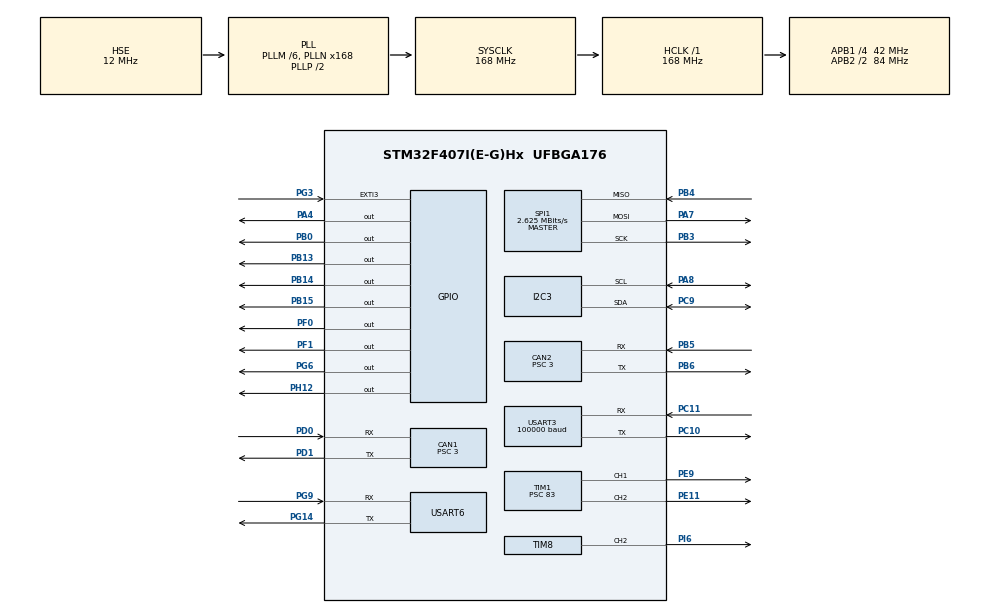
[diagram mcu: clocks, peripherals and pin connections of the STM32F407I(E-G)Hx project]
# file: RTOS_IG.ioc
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CAN1.ABOM=ENABLE
CAN1.BS1=CAN_BS1_10TQ
CAN1.BS2=CAN_BS2_3TQ
CAN1.CalculateBaudRate=1000000
CAN1.CalculateTimeBit=1000
CAN1.CalculateTimeQuantum=71.42857142857143
CAN1.NART=ENABLE
CAN1.Prescaler=3
CAN2.ABOM=ENABLE
CAN2.BS1=CAN_BS1_10TQ
CAN2.BS2=CAN_BS2_3TQ
CAN2.CalculateBaudRate=1000000
CAN2.CalculateTimeBit=1000
CAN2.CalculateTimeQuantum=71.42857142857143
CAN2.NART=ENABLE
CAN2.Prescaler=3
Dma.Request0=USART3_RX
Dma.USART3_RX.0.Direction=DMA_PERIPH_TO_MEMORY
Dma.USART3_RX.0.FIFOMode=DMA_FIFOMODE_DISABLE
Dma.USART3_RX.0.Instance=DMA1_Stream1
Dma.USART3_RX.0.MemDataAlignment=DMA_MDATAALIGN_BYTE
Dma.USART3_RX.0.MemInc=DMA_MINC_ENABLE
Dma.USART3_RX.0.Mode=DMA_CIRCULAR
Dma.USART3_RX.0.PeriphDataAlignment=DMA_PDATAALIGN_BYTE
Dma.USART3_RX.0.PeriphInc=DMA_PINC_DISABLE
Dma.USART3_RX.0.Priority=DMA_PRIORITY_LOW
FREERTOS.Queues01=Chassis_Cmd_Q,1,Chassis_Cmd_t,0,Dynamic,NULL,NULL;Mech_Cmd_Q,1,Mech_Cmd_t,0,Dynamic,NULL,NULL
FREERTOS.Tasks01=defaultTask,16,128,StartDefaultTask,Default,NULL,Dynamic,NULL,NULL;Task_Chassis,40,512,Task_Chassis_Entry,Default,NULL,Dynamic,NULL,NULL;Task_Remote,24,512,Task_Remote_Entry,Default,NULL,Dynamic,NULL,NULL;Task_Mech,32,512,Task_Mech_Entry,Default,NULL,Dynamic,NULL,NULL;Task_CAN_Tx,48,512,Task_CAN_Tx_Entry,Default,NULL,Dynamic,NULL,NULL
I2C3.I2C_Mode=I2C_Fast
Mcu.Family=STM32F4
Mcu.Name=STM32F407I(E-G)Hx
Mcu.Package=UFBGA176
NVIC.CAN1_RX0_IRQn=true\:5\:0\:false\:false\:true\:true\:true\:true\:true
NVIC.CAN1_RX1_IRQn=true\:5\:0\:false\:false\:true\:true\:true\:true\:true
NVIC.CAN2_RX0_IRQn=true\:5\:0\:false\:false\:true\:true\:true\:true\:true
NVIC.CAN2_RX1_IRQn=true\:5\:0\:false\:false\:true\:true\:true\:true\:true
NVIC.DMA1_Stream1_IRQn=true\:5\:0\:false\:false\:true\:true\:false\:true\:true
NVIC.PriorityGroup=NVIC_PRIORITYGROUP_4
NVIC.TIM6_DAC_IRQn=true\:0\:0\:false\:false\:true\:false\:false\:true\:true
NVIC.TimeBase=TIM6_DAC_IRQn
NVIC.TimeBaseIP=TIM6
NVIC.USART3_IRQn=true\:5\:0\:false\:false\:true\:true\:true\:true\:true
NVIC.USART6_IRQn=true\:5\:0\:false\:false\:true\:true\:true\:true\:true
PA13.Mode=Serial_Wire
PA13.Signal=SYS_JTMS-SWDIO
PA14.Mode=Serial_Wire
PA14.Signal=SYS_JTCK-SWCLK
PA4.GPIO_PuPd=GPIO_PULLUP
PA4.GPIO_Speed=GPIO_SPEED_FREQ_HIGH
PA4.PinState=GPIO_PIN_SET
PA4.Signal=GPIO_Output
PA7.Mode=Full_Duplex_Master
PA7.Signal=SPI1_MOSI
PA8.Mode=I2C
PA8.Signal=I2C3_SCL
PB0.GPIO_PuPd=GPIO_PULLUP
PB0.GPIO_Speed=GPIO_SPEED_FREQ_HIGH
PB0.PinState=GPIO_PIN_SET
PB0.Signal=GPIO_Output
PB13.Signal=GPIO_Output
PB14.Signal=GPIO_Output
PB15.Signal=GPIO_Output
PB3.Mode=Full_Duplex_Master
PB3.Signal=SPI1_SCK
PB4.Mode=Full_Duplex_Master
PB4.Signal=SPI1_MISO
PB5.Mode=CAN_Activate
PB5.Signal=CAN2_RX
PB6.Mode=CAN_Activate
PB6.Signal=CAN2_TX
PC10.Mode=Asynchronous
PC10.Signal=USART3_TX
PC11.Mode=Asynchronous
PC11.Signal=USART3_RX
PC9.Mode=I2C
PC9.Signal=I2C3_SDA
PD0.Mode=CAN_Activate
PD0.Signal=CAN1_RX
PD1.Mode=CAN_Activate
PD1.Signal=CAN1_TX
PE11.Signal=S_TIM1_CH2
PE9.Signal=S_TIM1_CH1
PF0.Signal=GPIO_Output
PF1.Signal=GPIO_Output
PG14.Mode=Asynchronous
PG14.Signal=USART6_TX
PG3.GPIO_PuPd=GPIO_PULLUP
PG3.Signal=GPXTI3
PG6.GPIO_PuPd=GPIO_PULLUP
PG6.GPIO_Speed=GPIO_SPEED_FREQ_MEDIUM
PG6.PinState=GPIO_PIN_SET
PG6.Signal=GPIO_Output
PG9.Mode=Asynchronous
PG9.Signal=USART6_RX
PH0-OSC_IN.Mode=HSE-External-Oscillator
PH0-OSC_IN.Signal=RCC_OSC_IN
PH1-OSC_OUT.Mode=HSE-External-Oscillator
PH1-OSC_OUT.Signal=RCC_OSC_OUT
PH12.GPIO_PuPd=GPIO_NOPULL
PH12.Signal=GPIO_Output
PI6.Signal=S_TIM8_CH2
ProjectManager.HeapSize=0x200
ProjectManager.StackSize=0x400
ProjectManager.TargetToolchain=CMake
RCC.48MHZClocksFreq_Value=84000000
RCC.AHBFreq_Value=168000000
RCC.APB1CLKDivider=RCC_HCLK_DIV4
RCC.APB1Freq_Value=42000000
RCC.APB1TimFreq_Value=84000000
RCC.APB2CLKDivider=RCC_HCLK_DIV2
RCC.APB2Freq_Value=84000000
RCC.APB2TimFreq_Value=168000000
RCC.CortexFreq_Value=168000000
RCC.HCLKFreq_Value=168000000
RCC.HSE_VALUE=12000000
RCC.HSI_VALUE=16000000
RCC.LSE_VALUE=32768
RCC.PLLM=6
RCC.PLLN=168
RCC.PLLSourceVirtual=RCC_PLLSOURCE_HSE
RCC.SYSCLKFreq_VALUE=168000000
RCC.SYSCLKSource=RCC_SYSCLKSOURCE_PLLCLK
RCC.VCOOutputFreq_Value=336000000
SH.S_TIM1_CH1.0=TIM1_CH1,PWM Generation1 CH1
SH.S_TIM1_CH2.0=TIM1_CH2,PWM Generation2 CH2
SH.S_TIM8_CH2.0=TIM8_CH2,PWM Generation2 CH2
SPI1.BaudRatePrescaler=SPI_BAUDRATEPRESCALER_32
SPI1.CLKPhase=SPI_PHASE_2EDGE
SPI1.CLKPolarity=SPI_POLARITY_HIGH
SPI1.CalculateBaudRate=2.625 MBits/s
SPI1.Direction=SPI_DIRECTION_2LINES
SPI1.Mode=SPI_MODE_MASTER
SPI1.VirtualType=VM_MASTER
TIM1.AutoReloadPreload=TIM_AUTORELOAD_PRELOAD_ENABLE
TIM1.Channel-PWM\ Generation1\ CH1=TIM_CHANNEL_1
TIM1.Channel-PWM\ Generation2\ CH2=TIM_CHANNEL_2
TIM1.Period=19999
TIM1.Prescaler=83
TIM1.Pulse-PWM\ Generation1\ CH1=500
TIM1.Pulse-PWM\ Generation2\ CH2=500
TIM8.AutoReloadPreload=TIM_AUTORELOAD_PRELOAD_ENABLE
TIM8.Channel-PWM\ Generation2\ CH2=TIM_CHANNEL_2
TIM8.Period=19999
TIM8.Prescaler=167
TIM8.Pulse-PWM\ Generation2\ CH2=1290
USART3.BaudRate=100000
USART3.Parity=PARITY_EVEN
USART3.StopBits=STOPBITS_2
USART3.VirtualMode=VM_ASYNC
USART3.WordLength=WORDLENGTH_9B
USART6.VirtualMode=VM_ASYNC
VP_FREERTOS_VS_CMSIS_V2.Mode=CMSIS_V2
VP_SYS_VS_tim6.Mode=TIM6
VP_TIM10_VS_ClockSourceINT.Mode=Enable_Timer
VP_TIM1_VS_ClockSourceINT.Mode=Internal
VP_TIM8_VS_ClockSourceINT.Mode=Internal
board=custom

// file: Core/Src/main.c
/* USER CODE BEGIN Header */
/**
  ******************************************************************************
  * @file           : main.c
  * @brief          : Main program body
  ******************************************************************************
  * @attention
  *
  * Copyright (c) 2026 STMicroelectronics.
  * All rights reserved.
  *
  * This software is licensed under terms that can be found in the LICENSE file
  * in the root directory of this software component.
  * If no LICENSE file comes with this software, it is provided AS-IS.
  *
  ******************************************************************************
  */
/* USER CODE END Header */
#include "main.h"
#include "cmsis_os.h"
#include "can.h"
#include "dma.h"
#include "i2c.h"
#include "spi.h"
#include "tim.h"
#include "usart.h"
#include "gpio.h"

/* USER CODE BEGIN Includes */
#include "include.h"
#include "Imu_fusion.h"
#include "recv_send.h"
#include "sbus.h"
/* USER CODE END Includes */

void SystemClock_Config(void);
void MX_FREERTOS_Init(void);

int main(void)
{

  /* MCU Configuration--------------------------------------------------------*/

  /* Reset of all peripherals, Initializes the Flash interface and the Systick. */
  HAL_Init();

  /* Configure the system clock */
  SystemClock_Config();

  /* Initialize all configured peripherals */
  MX_GPIO_Init();
  MX_DMA_Init();
  MX_CAN1_Init();
  MX_CAN2_Init();
  MX_TIM1_Init();
  MX_USART3_UART_Init();
  MX_SPI1_Init();
  MX_TIM8_Init();
  MX_I2C3_Init();
  MX_USART6_UART_Init();
  MX_TIM10_Init();
  /* USER CODE BEGIN 2 */
    PID_devices_Init();

  CAN1_Filter_Init();
  CAN2_Filter_Init();
  CAN_Start(&hcan1);
  CAN_Start(&hcan2);

   Servo_Init_All();
   Swerve_Init();

   IMU_Init();

  recv_send_init(&huart6);
  sbus_init();

  /* USER CODE END 2 */

  /* Init scheduler */
  osKernelInitialize();  /* Call init function for freertos objects (in cmsis_os2.c) */
  MX_FREERTOS_Init();

  /* Start scheduler */
  osKernelStart();

  /* We should never get here as control is now taken by the scheduler */

  /* Infinite loop */
  while (1)
  {

  }
}

void SystemClock_Config(void)
{
  RCC_OscInitTypeDef RCC_OscInitStruct = {0};
  RCC_ClkInitTypeDef RCC_ClkInitStruct = {0};

  /** Configure the main internal regulator output voltage
  */
  __HAL_RCC_PWR_CLK_ENABLE();
  __HAL_PWR_VOLTAGESCALING_CONFIG(PWR_REGULATOR_VOLTAGE_SCALE1);

  /** Initializes the RCC Oscillators according to the specified parameters
  * in the RCC_OscInitTypeDef structure.
  */
  RCC_OscInitStruct.OscillatorType = RCC_OSCILLATORTYPE_HSE;
  RCC_OscInitStruct.HSEState = RCC_HSE_ON;
  RCC_OscInitStruct.PLL.PLLState = RCC_PLL_ON;
  RCC_OscInitStruct.PLL.PLLSource = RCC_PLLSOURCE_HSE;
  RCC_OscInitStruct.PLL.PLLM = 6;
  RCC_OscInitStruct.PLL.PLLN = 168;
  RCC_OscInitStruct.PLL.PLLP = RCC_PLLP_DIV2;
  RCC_OscInitStruct.PLL.PLLQ = 4;
  if (HAL_RCC_OscConfig(&RCC_OscInitStruct) != HAL_OK)
  {
    Error_Handler();
  }

  /** Initializes the CPU, AHB and APB buses clocks
  */
  RCC_ClkInitStruct.ClockType = RCC_CLOCKTYPE_HCLK|RCC_CLOCKTYPE_SYSCLK
                              |RCC_CLOCKTYPE_PCLK1|RCC_CLOCKTYPE_PCLK2;
  RCC_ClkInitStruct.SYSCLKSource = RCC_SYSCLKSOURCE_PLLCLK;
  RCC_ClkInitStruct.AHBCLKDivider = RCC_SYSCLK_DIV1;
  RCC_ClkInitStruct.APB1CLKDivider = RCC_HCLK_DIV4;
  RCC_ClkInitStruct.APB2CLKDivider = RCC_HCLK_DIV2;

  if (HAL_RCC_ClockConfig(&RCC_ClkInitStruct, FLASH_LATENCY_5) != HAL_OK)
  {
    Error_Handler();
  }
}

/* USER CODE BEGIN 4 */

void HAL_UART_RxCpltCallback(UART_HandleTypeDef* huart)
{  if(huart->Instance==USART6)
  {  recv_and_process(usart1_rx_buf[0]);
   HAL_UART_Receive_IT(&huart6, usart1_rx_buf, 1);
  }
}

/* USER CODE END 4 */

void HAL_TIM_PeriodElapsedCallback(TIM_HandleTypeDef *htim)
{
  if (htim->Instance == TIM6)
  {
    HAL_IncTick();
  }
}

void Error_Handler(void)
{
  __disable_irq();
  while (1)
  {
  }
}

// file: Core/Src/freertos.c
/* USER CODE BEGIN Header */
/**
  ******************************************************************************
  * File Name          : freertos.c
  * Description        : Code for freertos applications
  ******************************************************************************
  * @attention
  *
  * Copyright (c) 2026 STMicroelectronics.
  * All rights reserved.
  *
  * This software is licensed under terms that can be found in the LICENSE file
  * in the root directory of this software component.
  * If no LICENSE file comes with this software, it is provided AS-IS.
  *
  ******************************************************************************
  */
/* USER CODE END Header */

#include "FreeRTOS.h"
#include "task.h"
#include "main.h"
#include "cmsis_os.h"

/* USER CODE BEGIN Includes */
#include "robot_def.h"
#include "queue.h"

/* USER CODE END Includes */

/* USER CODE BEGIN PTD */
// 全局姿态数据 (使用 volatile 防止编译器过度优化，因为是跨任务读写)
//float real_gyro_z=0;
//Imu_Data_t imu_msg = {0};

/* USER CODE END PTD */

/* Definitions for defaultTask */
osThreadId_t defaultTaskHandle;
const osThreadAttr_t defaultTask_attributes = {
  .name = "defaultTask",
  .stack_size = 128 * 4,
  .priority = (osPriority_t) osPriorityBelowNormal,
};
/* Definitions for Task_Chassis */
osThreadId_t Task_ChassisHandle;
const osThreadAttr_t Task_Chassis_attributes = {
  .name = "Task_Chassis",
  .stack_size = 512 * 4,
  .priority = (osPriority_t) osPriorityHigh,
};
/* Definitions for Task_Remote */
osThreadId_t Task_RemoteHandle;
const osThreadAttr_t Task_Remote_attributes = {
  .name = "Task_Remote",
  .stack_size = 512 * 4,
  .priority = (osPriority_t) osPriorityNormal,
};
/* Definitions for Task_Mech */
osThreadId_t Task_MechHandle;
const osThreadAttr_t Task_Mech_attributes = {
  .name = "Task_Mech",
  .stack_size = 512 * 4,
  .priority = (osPriority_t) osPriorityAboveNormal,
};
/* Definitions for Task_CAN_Tx */
osThreadId_t Task_CAN_TxHandle;
const osThreadAttr_t Task_CAN_Tx_attributes = {
  .name = "Task_CAN_Tx",
  .stack_size = 512 * 4,
  .priority = (osPriority_t) osPriorityRealtime,
};
/* Definitions for Chassis_Cmd_Q */
osMessageQueueId_t Chassis_Cmd_QHandle;
const osMessageQueueAttr_t Chassis_Cmd_Q_attributes = {
  .name = "Chassis_Cmd_Q"
};
/* Definitions for Mech_Cmd_Q */
osMessageQueueId_t Mech_Cmd_QHandle;
const osMessageQueueAttr_t Mech_Cmd_Q_attributes = {
  .name = "Mech_Cmd_Q"
};

void StartDefaultTask(void *argument);
void Task_Chassis_Entry(void *argument);
void Task_Remote_Entry(void *argument);
void Task_Mech_Entry(void *argument);
void Task_CAN_Tx_Entry(void *argument);

void MX_FREERTOS_Init(void); /* (MISRA C 2004 rule 8.1) */

void MX_FREERTOS_Init(void) {

  /* Create the queue(s) */
  /* creation of Chassis_Cmd_Q */
  Chassis_Cmd_QHandle = osMessageQueueNew (1, sizeof(Chassis_Cmd_t), &Chassis_Cmd_Q_attributes);

  /* creation of Mech_Cmd_Q */
  Mech_Cmd_QHandle = osMessageQueueNew (1, sizeof(Mech_Cmd_t), &Mech_Cmd_Q_attributes);

  /* Create the thread(s) */
  /* creation of defaultTask */
  defaultTaskHandle = osThreadNew(StartDefaultTask, NULL, &defaultTask_attributes);

  /* creation of Task_Chassis */
  Task_ChassisHandle = osThreadNew(Task_Chassis_Entry, NULL, &Task_Chassis_attributes);

  /* creation of Task_Remote */
  Task_RemoteHandle = osThreadNew(Task_Remote_Entry, NULL, &Task_Remote_attributes);

  /* creation of Task_Mech */
  Task_MechHandle = osThreadNew(Task_Mech_Entry, NULL, &Task_Mech_attributes);

  /* creation of Task_CAN_Tx */
  Task_CAN_TxHandle = osThreadNew(Task_CAN_Tx_Entry, NULL, &Task_CAN_Tx_attributes);

}

void StartDefaultTask(void *argument)
{
  /* USER CODE BEGIN StartDefaultTask */
  /* Infinite loop */
  for(;;)
  {
//      HAL_GPIO_TogglePin(GPIOH,GPIO_PIN_12);

//    osDelay(1);
  }
  /* USER CODE END StartDefaultTask */
}

__weak void Task_Chassis_Entry(void *argument)
{
  for(;;)
  {
    osDelay(1);
  }
}

__weak void Task_Remote_Entry(void *argument)
{
  for(;;)
  {
    osDelay(1);
  }
}

__weak void Task_Mech_Entry(void *argument)
{
  for(;;)
  {
    osDelay(1);
  }
}

__weak void Task_CAN_Tx_Entry(void *argument)
{
  for(;;)
  {
    osDelay(1);
  }
}
